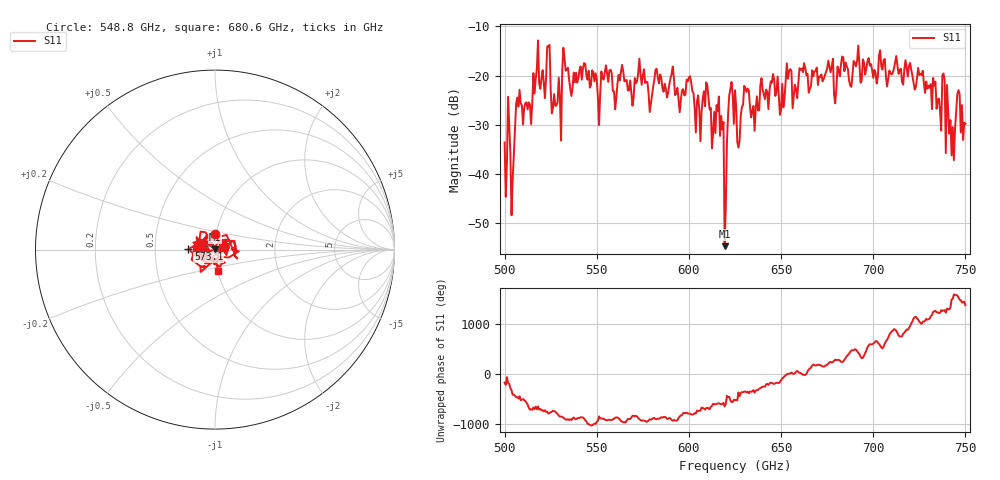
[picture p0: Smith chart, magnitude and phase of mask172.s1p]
!Created with skrf (http://scikit-rf.org).
# GHz S MA R 50.0
!freq magS11 angS11
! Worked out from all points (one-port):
!   401 points, 500 GHz to 750 GHz, reference 50 ohm
!   lowest |S11| = -54.6 dB at 619.4 GHz (marker M1), VSWR 1.00, Z = 50.1 + j0.177 ohm
!   |S11| at or under -10 dB: start of sweep to end of sweep
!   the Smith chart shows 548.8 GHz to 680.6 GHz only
!   S11 on the Smith chart (normalised r, x): 548.8 GHz: 0.99, +0.17; 573.1 GHz: 0.74, +0.00; 680.6 GHz: 1.01, -0.25
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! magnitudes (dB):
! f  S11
! 500 GHz  -33.6
! 504.4 GHz  -40.9
! 507.5 GHz  -26.3
! 513.8 GHz  -25.9
! 516.9 GHz  -20.7
! 523.8 GHz  -14.1
! 526.9 GHz  -23.8
! 531.2 GHz  -19.0
! 548.8 GHz  -21.2
! 562.5 GHz  -21.0
! 573.1 GHz  -16.6
! 593.8 GHz  -22.5
! 600 GHz  -20.4
! 605 GHz  -24.0
! 609.4 GHz  -21.4
! 613.1 GHz  -31.6
! 617.5 GHz  -28.2
! 619.4 GHz  -54.6
! 622.5 GHz  -22.8
! 625 GHz  -23.0
! 656.2 GHz  -26.6
! 680.6 GHz  -18.2
! 687.5 GHz  -22.0
! 718.8 GHz  -20.2
! 738.8 GHz  -21.0
! 742.5 GHz  -36.2
! 745.6 GHz  -23.8
! 750 GHz  -29.8
